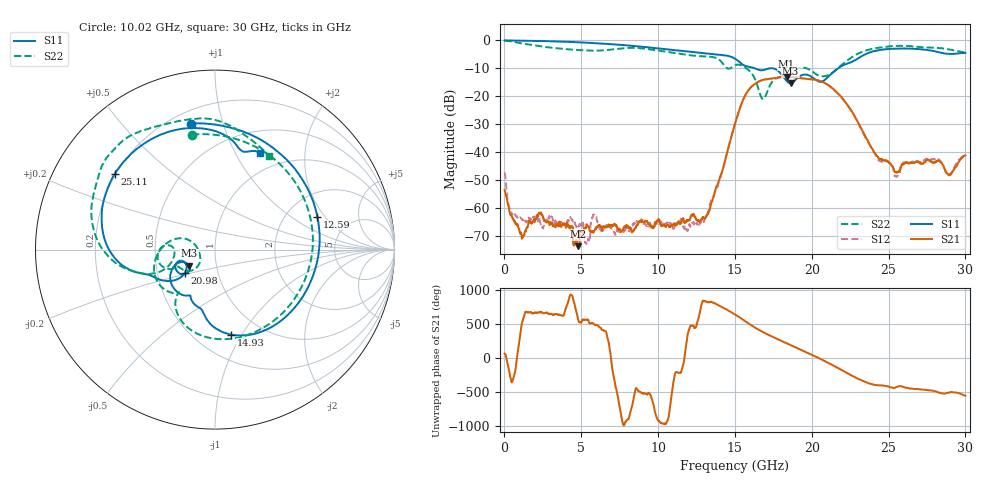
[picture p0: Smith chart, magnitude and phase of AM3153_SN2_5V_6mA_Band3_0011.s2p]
!Agilent Technologies,E8364B,MY43040894,A.07.50.67
!Agilent E8364B: A.07.50.67
!Date: Wednesday, May 13, 2020 06:21:00
!Correction: S11(Full 2 Port(1,2))
!S21(Full 2 Port(1,2))
!S12(Full 2 Port(1,2))
!S22(Full 2 Port(1,2))
!S2P File: Measurements: S11, S21, S12, S22:
# Hz S  dB  R 50
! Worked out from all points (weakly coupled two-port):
!   1601 points, 10 MHz to 30 GHz, reference 50 ohm
!   highest |S21| = -12.99 dB at 18.36 GHz (marker M1); lowest = -73.6 dB at 4.79 GHz (marker M2)
!   lowest |S11| = -15.4 dB at 18.62 GHz (marker M3), VSWR 1.41, Z = 36.9 - j6.86 ohm
!   |S11| at or under -10 dB: 16.28 GHz to 17.32 GHz (1.045 GHz wide, 6.22 % of centre); 17.38 GHz to 21.72 GHz (4.338 GHz wide, 22.2 % of centre)
!   |S22| runs from -21.0 to -0.1 dB; largest |S21 - S12| = 0.0064
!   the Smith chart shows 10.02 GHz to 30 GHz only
!   S11 on the Smith chart (normalised r, x): 10.02 GHz: 0.28, +0.79; 12.59 GHz: 2.93, +1.69; 14.93 GHz: 0.73, -0.90; 20.98 GHz: 0.69, -0.19; 25.11 GHz: 0.20, +0.32; 30 GHz: 0.76, +1.26
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1e7  -0.10 -2.0  -53.47 62.2  -47.14 -98.7  -0.10 -4.8
3.84875e8  -0.11 -11.3  -62.36 71.7  -60.52 -4.6  -0.37 -28.6
1.134625e9  -0.17 -32.8  -70.92 143.8  -64.13 -17.7  -1.17 -78.8
2.521662e9  -0.30 -71.2  -63.20 -64.0  -67.30 -166.7  -2.31 -155.6
4.789656e9  -0.75 -129.5  -73.56 -151.6  -67.04 -169.5  -3.49 97.3
5.014581e9  -0.80 -135.0  -67.94 162.8  -66.48 -60.0  -3.56 85.9
6.45785e9  -1.23 -169.8  -66.35 42.7  -66.66 129.4  -3.62 -4.0
7.544988e9  -1.66 164.3  -67.95 -61.3  -68.39 106.9  -2.94 -92.4
8.613381e9  -2.16 138.0  -66.29 -96.8  -64.79 -75.2  -2.76 -175.4
1.001916e10  -2.91 100.7  -64.43 157.0  -64.32 136.8  -3.69 101.3
1.258706e10  -4.45 17.9  -64.47 -171.4  -66.50 -32.2  -5.66 -32.0
1.328058e10  -4.86 -8.2  -61.61 95.5  -60.69 125.4  -5.87 -70.4
1.493002e10  -6.34 -79.3  -31.27 -71.6  -31.29 -70.8  -9.23 -136.7
1.5005e10  -6.58 -82.9  -29.87 -81.7  -29.88 -81.1  -8.99 -140.2
1.682314e10  -10.69 -119.1  -14.18 18.3  -14.23 18.3  -21.01 -166.4
1.836013e10  -14.53 -158.1  -12.99 -146.7  -13.05 -146.1  -12.62 -155.4
1.862254e10  -15.41 -147.8  -13.05 -174.4  -13.10 -173.7  -11.78 -155.6
2.000958e10  -13.19 -161.8  -13.95 44.9  -13.99 45.6  -11.06 175.4
2.098426e10  -13.54 -142.5  -15.71 -65.1  -15.78 -64.4  -12.64 -169.6
2.501416e10  -3.13 145.1  -43.57 -64.3  -43.80 -63.9  -2.24 146.5
2.510788e10  -3.09 142.9  -43.98 -74.0  -43.93 -67.6  -2.16 144.7
3e10  -4.52 65.3  -41.13 161.5  -42.59 172.5  -4.42 60.1
